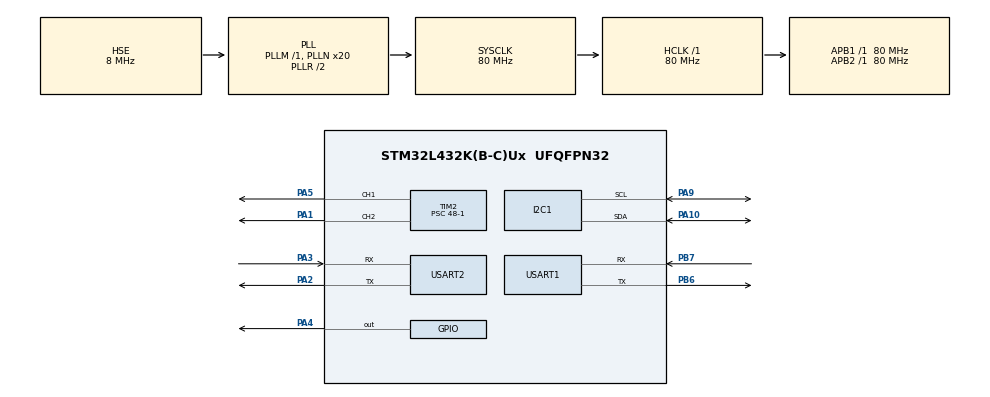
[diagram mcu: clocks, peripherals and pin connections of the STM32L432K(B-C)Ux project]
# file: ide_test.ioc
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Dma.Request0=USART2_RX
Dma.Request1=USART2_TX
Dma.USART2_RX.0.Direction=DMA_PERIPH_TO_MEMORY
Dma.USART2_RX.0.Instance=DMA1_Channel6
Dma.USART2_RX.0.MemDataAlignment=DMA_MDATAALIGN_BYTE
Dma.USART2_RX.0.MemInc=DMA_MINC_ENABLE
Dma.USART2_RX.0.Mode=DMA_NORMAL
Dma.USART2_RX.0.PeriphDataAlignment=DMA_PDATAALIGN_BYTE
Dma.USART2_RX.0.PeriphInc=DMA_PINC_DISABLE
Dma.USART2_RX.0.Priority=DMA_PRIORITY_MEDIUM
Dma.USART2_TX.1.Direction=DMA_MEMORY_TO_PERIPH
Dma.USART2_TX.1.Instance=DMA1_Channel7
Dma.USART2_TX.1.MemDataAlignment=DMA_MDATAALIGN_BYTE
Dma.USART2_TX.1.MemInc=DMA_MINC_ENABLE
Dma.USART2_TX.1.Mode=DMA_NORMAL
Dma.USART2_TX.1.PeriphDataAlignment=DMA_PDATAALIGN_BYTE
Dma.USART2_TX.1.PeriphInc=DMA_PINC_DISABLE
Dma.USART2_TX.1.Priority=DMA_PRIORITY_MEDIUM
FREERTOS.INCLUDE_uxTaskPriorityGet=0
FREERTOS.INCLUDE_vTaskDelayUntil=0
FREERTOS.INCLUDE_vTaskDelete=0
FREERTOS.INCLUDE_vTaskPrioritySet=0
FREERTOS.Tasks01=defaultTask,0,128,StartDefaultTask,Default,NULL,Dynamic,NULL,NULL;pidTask,2,128,StartPID,Default,NULL,Dynamic,NULL,NULL;logTask,-2,128,StartLogTask,Default,NULL,Dynamic,NULL,NULL;cmdTask,2,128,StartCmdTask,Default,NULL,Dynamic,NULL,NULL
FREERTOS.configTICK_RATE_HZ=150
FREERTOS.configUSE_NEWLIB_REENTRANT=0
I2C1.Timing=0x10909CEC
IWDG.Prescaler=IWDG_PRESCALER_32
IWDG.Reload=100
Mcu.Family=STM32L4
Mcu.Name=STM32L432K(B-C)Ux
Mcu.Package=UFQFPN32
NVIC.DMA1_Channel6_IRQn=true\:5\:0\:false\:false\:true\:true\:false\:true
NVIC.DMA1_Channel7_IRQn=true\:5\:0\:false\:false\:true\:true\:false\:true
NVIC.PriorityGroup=NVIC_PRIORITYGROUP_4
NVIC.TIM7_IRQn=true\:15\:0\:false\:false\:true\:false\:false\:true
NVIC.TimeBase=TIM7_IRQn
NVIC.TimeBaseIP=TIM7
NVIC.USART1_IRQn=true\:5\:0\:false\:false\:true\:true\:true\:true
NVIC.USART2_IRQn=true\:5\:0\:false\:false\:true\:true\:true\:true
PA0.Mode=HSE-External-Clock-Source-for-LittleOrca
PA0.Signal=RCC_CK_IN
PA1.Signal=S_TIM2_CH2
PA10.Mode=I2C
PA10.Signal=I2C1_SDA
PA13\ (JTMS-SWDIO).Mode=Serial_Wire
PA13\ (JTMS-SWDIO).Signal=SYS_JTMS-SWDIO
PA14\ (JTCK-SWCLK).Mode=Serial_Wire
PA14\ (JTCK-SWCLK).Signal=SYS_JTCK-SWCLK
PA2.Mode=Asynchronous
PA2.Signal=USART2_TX
PA3.Mode=Asynchronous
PA3.Signal=USART2_RX
PA4.GPIO_PuPd=GPIO_PULLDOWN
PA4.Signal=GPIO_Output
PA5.Signal=S_TIM2_CH1
PA9.Mode=I2C
PA9.Signal=I2C1_SCL
PB6.Mode=Asynchronous
PB6.Signal=USART1_TX
PB7.Mode=Asynchronous
PB7.Signal=USART1_RX
PC14-OSC32_IN\ (PC14).Mode=LSE-External-Oscillator
PC14-OSC32_IN\ (PC14).Signal=RCC_OSC32_IN
PC15-OSC32_OUT\ (PC15).Mode=LSE-External-Oscillator
PC15-OSC32_OUT\ (PC15).Signal=RCC_OSC32_OUT
ProjectManager.HeapSize=0x200
ProjectManager.StackSize=0x400
ProjectManager.TargetToolchain=STM32CubeIDE
RCC.ADCFreq_Value=32000000
RCC.AHBFreq_Value=80000000
RCC.APB1Freq_Value=80000000
RCC.APB1TimFreq_Value=80000000
RCC.APB2Freq_Value=80000000
RCC.APB2TimFreq_Value=80000000
RCC.CortexFreq_Value=80000000
RCC.HCLKFreq_Value=80000000
RCC.HSE_VALUE=8000000
RCC.HSI48_VALUE=48000000
RCC.HSI_VALUE=16000000
RCC.MSI_VALUE=4000000
RCC.PLLN=20
RCC.PLLSourceVirtual=RCC_PLLSOURCE_HSE
RCC.SYSCLKFreq_VALUE=80000000
RCC.SYSCLKSource=RCC_SYSCLKSOURCE_PLLCLK
RCC.USBFreq_Value=32000000
RCC.VCOOutputFreq_Value=160000000
SH.S_TIM2_CH1.0=TIM2_CH1,PWM Generation1 CH1
SH.S_TIM2_CH2.0=TIM2_CH2,PWM Generation2 CH2
TIM2.Channel-PWM\ Generation1\ CH1=TIM_CHANNEL_1
TIM2.Channel-PWM\ Generation2\ CH2=TIM_CHANNEL_2
TIM2.Period=100-1
TIM2.Prescaler=48-1
TIM2.Pulse-PWM\ Generation1\ CH1=50
TIM2.Pulse-PWM\ Generation2\ CH2=50
USART1.VirtualMode-Asynchronous=VM_ASYNC
USART2.DMADisableonRxErrorParam=ADVFEATURE_DMA_DISABLEONRXERROR
USART2.OverrunDisableParam=ADVFEATURE_OVERRUN_DISABLE
USART2.VirtualMode-Asynchronous=VM_ASYNC
VP_FREERTOS_VS_CMSIS_V1.Mode=CMSIS_V1
VP_IWDG_VS_IWDG.Mode=IWDG_Activate
VP_SYS_VS_tim7.Mode=TIM7
board=custom

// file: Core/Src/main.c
/* USER CODE BEGIN Header */
/**
  ******************************************************************************
  * @file           : main.c
  * @brief          : Main program body
  ******************************************************************************
  * @attention
  *
  * <h2><center>&copy; Copyright (c) 2022 STMicroelectronics.
  * All rights reserved.</center></h2>
  *
  * This software component is licensed by ST under BSD 3-Clause license,
  * the "License"; You may not use this file except in compliance with the
  * License. You may obtain a copy of the License at:
  *                        opensource.org/licenses/BSD-3-Clause
  *
  ******************************************************************************
  */
/* USER CODE END Header */
#include "main.h"
#include "cmsis_os.h"
#include "dma.h"
#include "i2c.h"
#include "iwdg.h"
#include "tim.h"
#include "usart.h"
#include "gpio.h"

/* USER CODE BEGIN Includes */
#include <I2C1.h>
#include <data_save.h>
#include <config.h>
#include <pid_ctl.h>
#include <cmd.h>
#include <serial_interface.h>
#include <stdio.h>
#include <stdint.h>
/* USER CODE END Includes */

void SystemClock_Config(void);
void MX_FREERTOS_Init(void);

int main(void)
{

  /* MCU Configuration--------------------------------------------------------*/

  /* Reset of all peripherals, Initializes the Flash interface and the Systick. */
  HAL_Init();

  /* Configure the system clock */
  SystemClock_Config();

  /* Initialize all configured peripherals */
  MX_GPIO_Init();

  MX_TIM2_Init();
  MX_USART2_UART_Init();
  MX_I2C1_Init();
  MX_USART1_UART_Init();
  MX_DMA_Init();
  MX_IWDG_Init();
  /* USER CODE BEGIN 2 */
  valve_stat = 0;
  HAL_IWDG_Refresh(&hiwdg);
  i2c_init(hi2c1);
  para_init();
  uart2_init();
  reply_init();
  HAL_IWDG_Refresh(&hiwdg);
  //save_para(para_list,8);
  printf("init done!");
  //while(HAL_UART_Receive_IT(&huart2, (uint8_t*)&aRxBuffer, 1)!=HAL_OK){HAL_Delay(1);};
  HAL_UART_Receive_IT(&huart2, (uint8_t*)&aRxBuffer, 1);
  //HAL_UART_Receive_DMA(&huart2, (uint8_t*)&aRxBuffer, 1);
  /* USER CODE END 2 */

  /* Call init function for freertos objects (in freertos.c) */
  MX_FREERTOS_Init();
  /* Start scheduler */
  osKernelStart();

  /* We should never get here as control is now taken by the scheduler */
  /* Infinite loop */
  /* USER CODE BEGIN WHILE */
  //while (1)
  //{
	  //HAL_Delay(10);
	  //printf("hello\r\n");
	  //HAL_IWDG_Refresh(&hiwdg);
	  //serial2_thread_entry();
	  //pid_run();
	  //air_pressure();
	  //HAL_IWDG_Refresh(&hiwdg);

    /* USER CODE END WHILE */

    /* USER CODE BEGIN 3 */
  //}
  /* USER CODE END 3 */
}

void SystemClock_Config(void)
{
  RCC_OscInitTypeDef RCC_OscInitStruct = {0};
  RCC_ClkInitTypeDef RCC_ClkInitStruct = {0};

  /** Configure the main internal regulator output voltage
  */
  if (HAL_PWREx_ControlVoltageScaling(PWR_REGULATOR_VOLTAGE_SCALE1) != HAL_OK)
  {
    Error_Handler();
  }
  /** Initializes the RCC Oscillators according to the specified parameters
  * in the RCC_OscInitTypeDef structure.
  */
  RCC_OscInitStruct.OscillatorType = RCC_OSCILLATORTYPE_LSI|RCC_OSCILLATORTYPE_HSE;
  RCC_OscInitStruct.HSEState = RCC_HSE_BYPASS;
  RCC_OscInitStruct.LSIState = RCC_LSI_ON;
  RCC_OscInitStruct.PLL.PLLState = RCC_PLL_ON;
  RCC_OscInitStruct.PLL.PLLSource = RCC_PLLSOURCE_HSE;
  RCC_OscInitStruct.PLL.PLLM = 1;
  RCC_OscInitStruct.PLL.PLLN = 20;
  RCC_OscInitStruct.PLL.PLLP = RCC_PLLP_DIV7;
  RCC_OscInitStruct.PLL.PLLQ = RCC_PLLQ_DIV2;
  RCC_OscInitStruct.PLL.PLLR = RCC_PLLR_DIV2;
  if (HAL_RCC_OscConfig(&RCC_OscInitStruct) != HAL_OK)
  {
    Error_Handler();
  }
  /** Initializes the CPU, AHB and APB buses clocks
  */
  RCC_ClkInitStruct.ClockType = RCC_CLOCKTYPE_HCLK|RCC_CLOCKTYPE_SYSCLK
                              |RCC_CLOCKTYPE_PCLK1|RCC_CLOCKTYPE_PCLK2;
  RCC_ClkInitStruct.SYSCLKSource = RCC_SYSCLKSOURCE_PLLCLK;
  RCC_ClkInitStruct.AHBCLKDivider = RCC_SYSCLK_DIV1;
  RCC_ClkInitStruct.APB1CLKDivider = RCC_HCLK_DIV1;
  RCC_ClkInitStruct.APB2CLKDivider = RCC_HCLK_DIV1;

  if (HAL_RCC_ClockConfig(&RCC_ClkInitStruct, FLASH_LATENCY_4) != HAL_OK)
  {
    Error_Handler();
  }
}

void HAL_TIM_PeriodElapsedCallback(TIM_HandleTypeDef *htim)
{
  if (htim->Instance == TIM7) {
    HAL_IncTick();
  }
}

void Error_Handler(void)
{
  __disable_irq();
  while (1)
  {
  }
}

/************************ (C) COPYRIGHT STMicroelectronics *****END OF FILE****/

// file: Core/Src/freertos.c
/* USER CODE BEGIN Header */
/**
  ******************************************************************************
  * File Name          : freertos.c
  * Description        : Code for freertos applications
  ******************************************************************************
  * @attention
  *
  * <h2><center>&copy; Copyright (c) 2022 STMicroelectronics.
  * All rights reserved.</center></h2>
  *
  * This software component is licensed by ST under Ultimate Liberty license
  * SLA0044, the "License"; You may not use this file except in compliance with
  * the License. You may obtain a copy of the License at:
  *                             www.st.com/SLA0044
  *
  ******************************************************************************
  */
/* USER CODE END Header */

#include "FreeRTOS.h"
#include "task.h"
#include "main.h"
#include "cmsis_os.h"

/* USER CODE BEGIN Includes */
#include <serial_interface.h>
#include <I2C1.h>
#include <pid_ctl.h>
/* USER CODE END Includes */

osThreadId defaultTaskHandle;
osThreadId pidTaskHandle;
osThreadId logTaskHandle;
osThreadId cmdTaskHandle;

void StartDefaultTask(void const * argument);
void StartPID(void const * argument);
void StartLogTask(void const * argument);
void StartCmdTask(void const * argument);

void MX_FREERTOS_Init(void); /* (MISRA C 2004 rule 8.1) */

/* GetIdleTaskMemory prototype (linked to static allocation support) */
void vApplicationGetIdleTaskMemory( StaticTask_t **ppxIdleTaskTCBBuffer, StackType_t **ppxIdleTaskStackBuffer, uint32_t *pulIdleTaskStackSize );

/* USER CODE BEGIN GET_IDLE_TASK_MEMORY */
static StaticTask_t xIdleTaskTCBBuffer;
static StackType_t xIdleStack[configMINIMAL_STACK_SIZE];

void vApplicationGetIdleTaskMemory( StaticTask_t **ppxIdleTaskTCBBuffer, StackType_t **ppxIdleTaskStackBuffer, uint32_t *pulIdleTaskStackSize )
{
  *ppxIdleTaskTCBBuffer = &xIdleTaskTCBBuffer;
  *ppxIdleTaskStackBuffer = &xIdleStack[0];
  *pulIdleTaskStackSize = configMINIMAL_STACK_SIZE;
  /* place for user code */
}
/* USER CODE END GET_IDLE_TASK_MEMORY */

void MX_FREERTOS_Init(void) {

  /* Create the thread(s) */
  /* definition and creation of defaultTask */
  osThreadDef(defaultTask, StartDefaultTask, osPriorityNormal, 0, 128);
  defaultTaskHandle = osThreadCreate(osThread(defaultTask), NULL);

  /* definition and creation of pidTask */
  osThreadDef(pidTask, StartPID, osPriorityHigh, 0, 128);
  pidTaskHandle = osThreadCreate(osThread(pidTask), NULL);

  /* definition and creation of logTask */
  osThreadDef(logTask, StartLogTask, osPriorityLow, 0, 128);
  logTaskHandle = osThreadCreate(osThread(logTask), NULL);

  /* definition and creation of cmdTask */
  osThreadDef(cmdTask, StartCmdTask, osPriorityHigh, 0, 128);
  cmdTaskHandle = osThreadCreate(osThread(cmdTask), NULL);

}

void StartDefaultTask(void const * argument)
{
  /* USER CODE BEGIN StartDefaultTask */
  /* Infinite loop */
  for(;;)
  {
    osDelay(10);
  }
  /* USER CODE END StartDefaultTask */
}

void StartPID(void const * argument)
{
  /* USER CODE BEGIN StartPID */
  /* Infinite loop */
  for(;;)
  {
	pid_run();
    //osDelay(1);
  }
  /* USER CODE END StartPID */
}

void StartLogTask(void const * argument)
{
  /* USER CODE BEGIN StartLogTask */
  /* Infinite loop */
  for(;;)
  {
    osDelay(10);
  }
  /* USER CODE END StartLogTask */
}

void StartCmdTask(void const * argument)
{
  /* USER CODE BEGIN StartCmdTask */
  /* Infinite loop */
  for(;;)
  {
	  serial2_thread_entry();
  }
  /* USER CODE END StartCmdTask */
}

/************************ (C) COPYRIGHT STMicroelectronics *****END OF FILE****/
